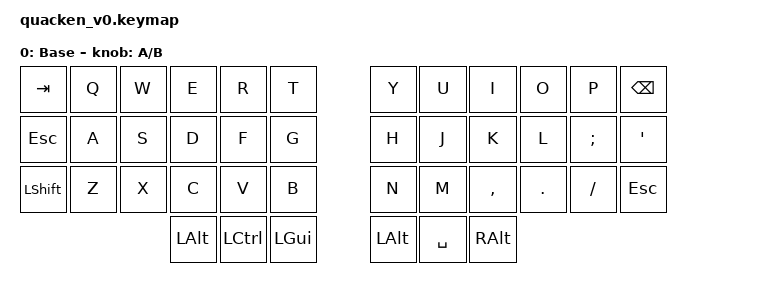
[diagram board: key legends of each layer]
#include <behaviors.dtsi>
#include <dt-bindings/zmk/keys.h>

/ {
    keymap {
        compatible = "zmk,keymap";

        default_layer {
            display-name = "Base";
            sensor-bindings = <&inc_dec_kp A B>;
            bindings = <
   &kp TAB   &kp Q &kp W &kp E &kp R &kp T   &kp Y &kp U  &kp I     &kp O   &kp P    &kp BSPC
   &kp ESC   &kp A &kp S &kp D &kp F &kp G   &kp H &kp J  &kp K     &kp L   &kp SEMI &kp SQT
   &kp LSHFT &kp Z &kp X &kp C &kp V &kp B   &kp N &kp M  &kp COMMA &kp DOT &kp FSLH &kp ESC
                &kp LALT &kp LCTL &kp LGUI   &kp LALT &kp SPACE &kp RALT
            >;
        };
    };
};
